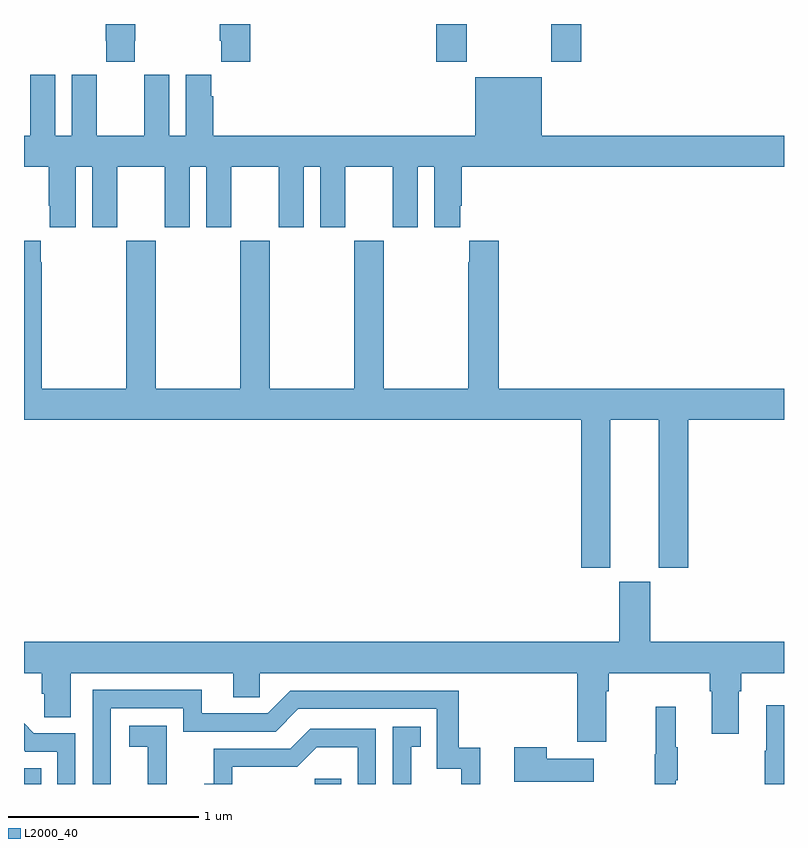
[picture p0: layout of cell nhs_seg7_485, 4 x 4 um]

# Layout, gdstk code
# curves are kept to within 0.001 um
import gdstk
lib = gdstk.Library(unit=1e-6, precision=1e-09)
def R(c, l, rs):  # rectangles x0, y0, x1, y1
    for r in rs: c.add(gdstk.rectangle(r[:2], r[2:], *l))
def P(c, l, *ps):  # polygons
    for p in ps: c.add(gdstk.Polygon(p, *l))
L2000_40 = (2000, 40)

nhs_seg7_485 = lib.new_cell('nhs_seg7_485')
R(nhs_seg7_485, L2000_40, [(149,1032,149.09,1032.082), (150.531,1032,150.671,1032.027), (151.169,1035.801,151.329,1036), (151.774,1035.801,151.934,1036)])
P(nhs_seg7_485, L2000_40, [(150.191,1036),(150.031,1036),(150.031,1035.913),(150.037,1035.913),(150.037,1035.801),(150.191,1035.801)],
  [(149.583,1035.913),(149.586,1035.913),(149.586,1036),(149.431,1036),(149.431,1035.913),(149.433,1035.913),(149.433,1035.801),(149.583,1035.801)],
  [(149.272,1035.248),(149.36,1035.248),(149.36,1034.93),(149.491,1034.93),(149.491,1035.248),(149.741,1035.248),(149.741,1034.93),(149.872,1034.93),(149.872,1035.248),(149.96,1035.248),(149.96,1034.93),(150.091,1034.93),(150.091,1035.248),(150.341,1035.248),(150.341,1034.93),(150.472,1034.93),(150.472,1035.248),(150.56,1035.248),(150.56,1034.93),(150.691,1034.93),(150.691,1035.248),(150.941,1035.248),(150.941,1034.93),(151.072,1034.93),(151.072,1035.248),(151.16,1035.248),(151.16,1034.93),(151.297,1034.93),(151.297,1035.043),(151.304,1035.043),(151.304,1035.248),(153,1035.248),(153,1035.412),(151.726,1035.412),(151.726,1035.721),(151.376,1035.721),(151.376,1035.412),(149.996,1035.412),(149.996,1035.62),(149.986,1035.62),(149.986,1035.733),(149.852,1035.733),(149.852,1035.412),(149.764,1035.412),(149.764,1035.733),(149.634,1035.733),(149.634,1035.62),(149.633,1035.62),(149.633,1035.412),(149.383,1035.412),(149.383,1035.62),(149.382,1035.62),(149.382,1035.733),(149.252,1035.733),(149.252,1035.412),(149.164,1035.412),(149.164,1035.733),(149.034,1035.733),(149.034,1035.62),(149.033,1035.62),(149.033,1035.412),(149,1035.412),(149,1035.248),(149.129,1035.248),(149.129,1035.043),(149.135,1035.043),(149.135,1034.93),(149.272,1034.93)],
  [(152.086,1033.916),(152.342,1033.916),(152.342,1033.137),(152.495,1033.137),(152.495,1033.916),(153,1033.916),(153,1034.08),(151.499,1034.08),(151.499,1034.86),(151.343,1034.86),(151.343,1034.747),(151.339,1034.747),(151.339,1034.08),(150.894,1034.08),(150.894,1034.86),(150.739,1034.86),(150.739,1034.08),(150.294,1034.08),(150.294,1034.86),(150.139,1034.86),(150.139,1034.08),(149.694,1034.08),(149.694,1034.86),(149.539,1034.86),(149.539,1034.08),(149.094,1034.08),(149.094,1034.747),(149.089,1034.747),(149.089,1034.86),(149,1034.86),(149,1033.916),(151.934,1033.916),(151.934,1033.137),(152.086,1033.137)],
  [(152.065,1032.488),(152.078,1032.488),(152.078,1032.584),(152.609,1032.584),(152.609,1032.488),(152.621,1032.488),(152.621,1032.264),(152.761,1032.264),(152.761,1032.488),(152.774,1032.488),(152.774,1032.584),(153,1032.584),(153,1032.748),(152.296,1032.748),(152.296,1033.065),(152.132,1033.065),(152.132,1032.748),(149,1032.748),(149,1032.584),(149.093,1032.584),(149.093,1032.475),(149.106,1032.475),(149.106,1032.352),(149.245,1032.352),(149.245,1032.584),(150.101,1032.584),(150.101,1032.457),(150.24,1032.457),(150.24,1032.584),(151.913,1032.584),(151.913,1032.222),(152.065,1032.222)],
  [(149.457,1032.399),(149.838,1032.399),(149.838,1032.276),(150.324,1032.276),(150.444,1032.396),(151.173,1032.396),(151.173,1032.081),(151.302,1032.081),(151.302,1032),(151.4,1032),(151.4,1032.19),(151.289,1032.19),(151.289,1032.492),(150.402,1032.492),(150.282,1032.372),(149.935,1032.372),(149.935,1032.495),(149.361,1032.495),(149.361,1032),(149.457,1032)],
  [(153,1032.415),(152.906,1032.415),(152.906,1032.176),(152.899,1032.176),(152.899,1032),(153,1032)],
  [(152.429,1032.019),(152.44,1032.019),(152.44,1032.193),(152.429,1032.193),(152.429,1032.406),(152.326,1032.406),(152.326,1032.156),(152.319,1032.156),(152.319,1032),(152.429,1032)],
  [(149.271,1032.267),(149.052,1032.267),(149,1032.319),(149,1032.177),(149.006,1032.171),(149.175,1032.171),(149.175,1032),(149.271,1032)],
  [(149.75,1032.101),(149.751,1032.101),(149.751,1032.307),(149.553,1032.307),(149.553,1032.197),(149.651,1032.197),(149.651,1032),(149.75,1032)],
  [(151.039,1032.195),(151.088,1032.195),(151.088,1032.301),(150.942,1032.301),(150.942,1032),(151.039,1032)],
  [(150.096,1032.09),(150.438,1032.09),(150.542,1032.194),(150.756,1032.194),(150.756,1032),(150.852,1032),(150.852,1032.291),(150.506,1032.291),(150.401,1032.186),(149.998,1032.186),(149.998,1032.001),(149.949,1032),(150.096,1032)],
  [(151.999,1032.133),(151.751,1032.133),(151.751,1032.193),(151.58,1032.193),(151.58,1032.011),(151.999,1032.011)])

lib.write_gds('nhs_seg7_485.gds')
